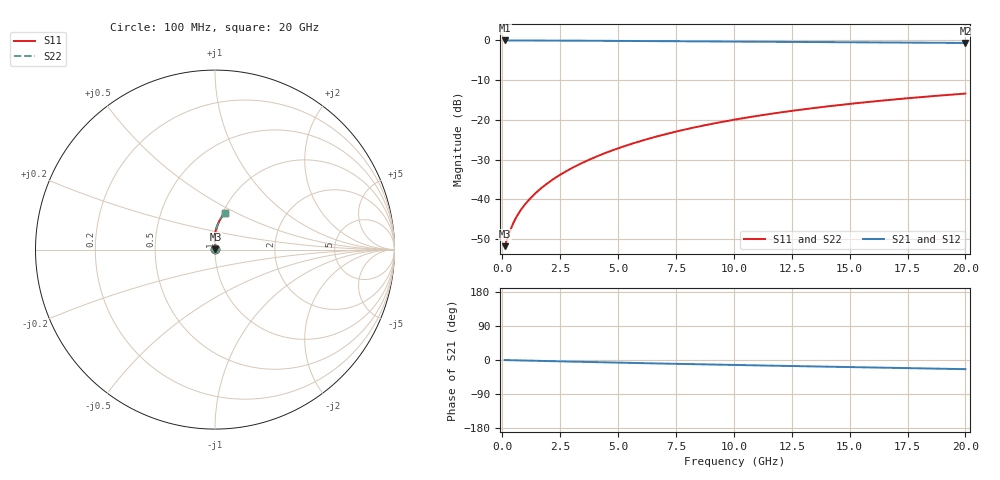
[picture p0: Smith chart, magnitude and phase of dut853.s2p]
! Touchstone file exported from HFSS 2024.1.0
!  File:  C:/UserFiles/LocalFiles/RDL_TSV_Batchsim/temp_RDL_top_853_1779855748.aedt
!  Generated:  12:25:04 PM May 27, 2026
!  Design:  RDL_top
!  Project:  temp_RDL_top_853_1779855748
!  Setup:  Setup1
!  Solution:  Sweep
! Variables:
!  dtsv = 10.80580581um
!  hbump = 3um
!  htsv = 70.53um
!  ldown = 100um
!  lrdl = 336.16um
!  p = 40
!  p1 = 48.66um
!  rhole = 1um
!  t = 450um
!  tdown = 3.915915916um
!  trdl = 2.13um
!  wdown = 15.38538539um
!  wrdl = 28.5um
# GHz S MA R 50.000000
! Terminal data exported
! Port[1] = Box2_T1
! Port[2] = Box2_T2
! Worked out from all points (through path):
!   200 points, 100 MHz to 20 GHz, reference 50 ohm
!   highest |S21| = -0.02 dB at 100 MHz (marker M1); lowest = -0.6 dB at 20 GHz (marker M2)
!   group delay of S21, straight-line fit = 3.31 ps
!   lowest |S11| = -51.8 dB at 100 MHz (marker M3), VSWR 1.01, Z = 50.2 + j0.0952 ohm
!   |S11| at or under -10 dB: start of sweep to end of sweep
!   |S22| runs from -51.8 to -13.4 dB; largest |S21 - S12| = 3.6e-15
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0.1  0.002576 21.6  0.9976 -0.2  0.9976 -0.2  0.002576 21.6
! Gamma 0 0 0 0
! Port Impedance 50 0 50 0
0.4  0.004475 53.7  0.9972 -0.6  0.9972 -0.6  0.004475 53.7
0.5  0.005199 58.2  0.997 -0.8  0.997 -0.8  0.0052 58.2
0.6  0.005919 61.7  0.9969 -0.9  0.9969 -0.9  0.005919 61.7
0.7  0.006633 64.5  0.9967 -1.0  0.9967 -1.0  0.006634 64.5
0.9  0.008057 68.9  0.9964 -1.3  0.9964 -1.3  0.008057 68.9
1.2  0.01022 73.8  0.996 -1.8  0.996 -1.8  0.01022 73.8
1.4  0.01169 76.3  0.9956 -2.0  0.9956 -2.0  0.01169 76.3
1.7  0.01396 79.4  0.9951 -2.5  0.9951 -2.5  0.01396 79.4
2.2  0.01792 83.2  0.994 -3.2  0.994 -3.2  0.01792 83.2
2.8  0.02294 86.3  0.9925 -4.0  0.9925 -4.0  0.02294 86.3
3.5  0.02918 88.7  0.9904 -5.0  0.9904 -5.0  0.02918 88.7
4.2  0.03581 90.2  0.988 -5.9  0.988 -5.9  0.03581 90.2
5  0.04382 91.2  0.9851 -7.0  0.9851 -7.0  0.04383 91.2
5.9  0.05332 91.5  0.9816 -8.1  0.9816 -8.1  0.05332 91.5
6.8  0.06322 91.3  0.978 -9.2  0.978 -9.2  0.06323 91.4
8.4  0.08151 90.2  0.9715 -11.2  0.9715 -11.2  0.08152 90.2
10.1  0.1014 88.3  0.9648 -13.2  0.9648 -13.2  0.1015 88.3
11.7  0.1203 86.2  0.9586 -15.0  0.9586 -15.0  0.1203 86.2
13.4  0.1403 83.9  0.9522 -17.0  0.9522 -17.0  0.1403 83.9
16.7  0.178 79.3  0.9401 -20.6  0.9401 -20.6  0.178 79.3
20  0.2141 74.8  0.9281 -24.2  0.9281 -24.2  0.2141 74.8
